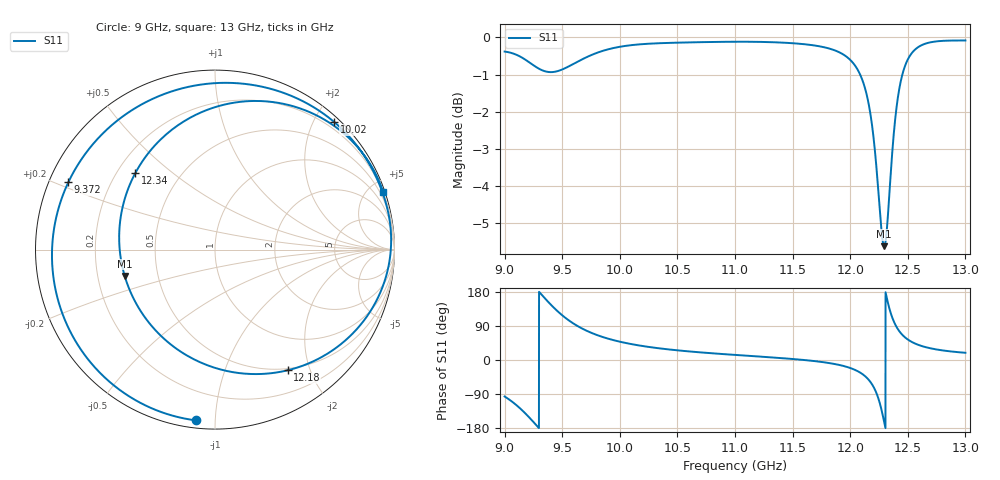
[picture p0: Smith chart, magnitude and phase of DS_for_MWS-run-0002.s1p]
! TOUCHSTONE file generated by CST DESIGN STUDIO
! Date and time: Tue Feb  4 14:01:35 2025
! Project name: C:\Work\MatlabApps\UnitCellOptimizationMatlab\CST\unitcell.cst
! Tree item: Tasks\Sweep1\SPara1\S-Parameters
! Header version: 2024
! Port assignment regex: !\s*Touchstone port\s*([0-9]+)\s*=\s*(CST MWS port|CST DES external port|CST DES block port)\s*(.+)\s* \(\"(.*)\"\)(\s*mode\s*([0-9]+))?.*
! Touchstone port assignment:
! Touchstone port 1 = CST DES external port 1 ("")
# GHz S MA R 50
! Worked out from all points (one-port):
!   4001 points, 9 GHz to 13 GHz, reference 50 ohm
!   lowest |S11| = -5.6 dB at 12.29 GHz (marker M1), VSWR 3.20, Z = 15.9 - j6.45 ohm
!   |S11| at or under -10 dB: nowhere
!   S11 on the Smith chart (normalised r, x): 9 GHz: 0.04, -0.90; 9.372 GHz: 0.06, +0.22; 10.02 GHz: 0.09, +2.29; 12.18 GHz: 0.48, -1.67; 12.34 GHz: 0.27, +0.38; 13 GHz: 0.17, +5.96
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9  0.9574 -96.3
9.118  0.9456 -123.2
9.23  0.9223 -156.8
9.3  0.9076 179.6
9.372  0.8991 155.4
9.5  0.9057 118.0
9.603  0.9224 95.2
9.736  0.9447 73.9
10  0.9717 48.3
10.018  0.9727 47.1
10.5  0.9842 25.5
11  0.987 13.4
11.5  0.9825 2.7
11.8  0.9681 -7.2
12  0.9331 -21.1
12.104  0.878 -36.7
12.178  0.7848 -59.0
12.242  0.6282 -99.1
12.268  0.5579 -126.7
12.295  0.5242 -163.7
12.317  0.5495 164.7
12.34  0.6158 136.1
12.37  0.7167 108.1
12.402  0.8049 87.4
12.449  0.887 67.6
12.5  0.9342 54.1
12.669  0.9829 32.8
13  0.9909 19.0
